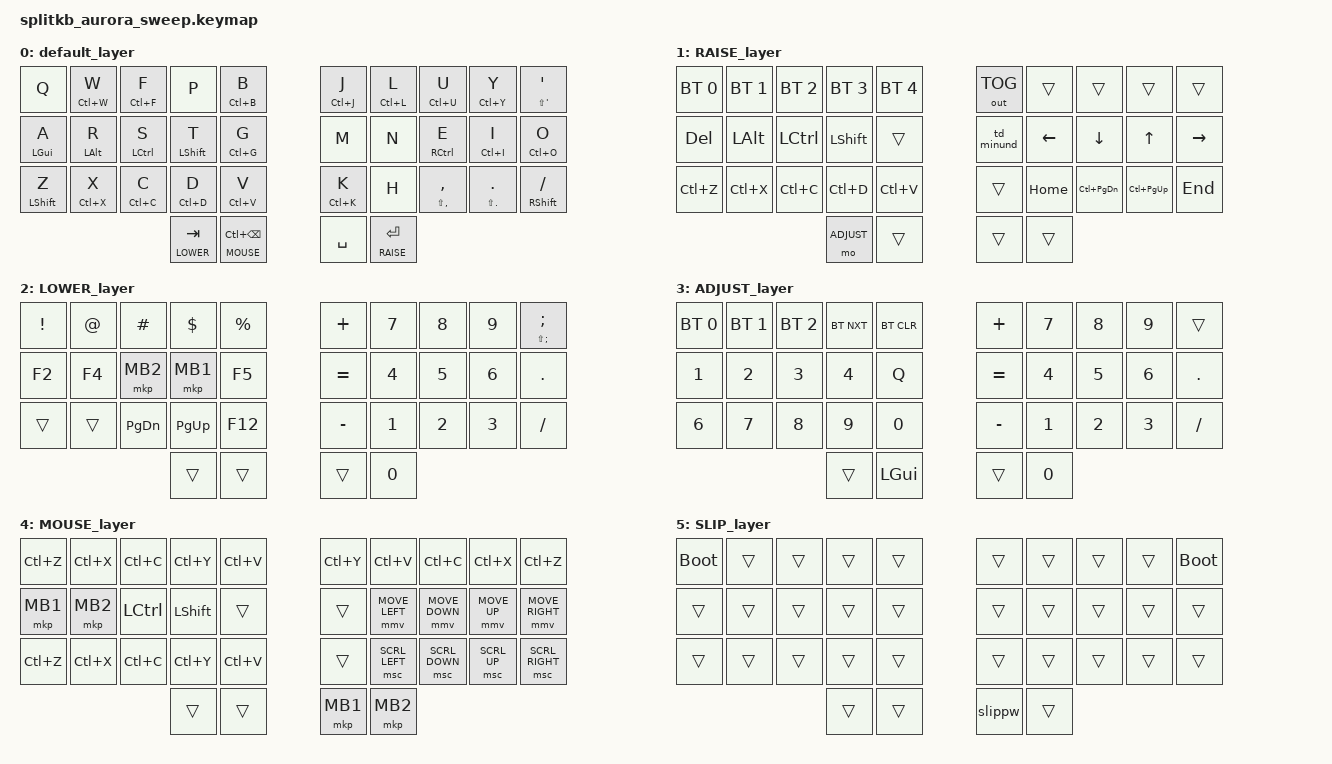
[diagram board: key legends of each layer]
/*Ryan's Dev List
    Common word combos
    Use home row combos for enter, etc.? Will probably end up with false positives
 */

#include <behaviors.dtsi>
#include <dt-bindings/zmk/keys.h>
#include <dt-bindings/zmk/bt.h>
#include <dt-bindings/zmk/outputs.h>
#include <dt-bindings/zmk/pointing.h>
#include <dt-bindings/zmk/ext_power.h>

#define BASE 0
#define RAISE 1
#define LOWER 2
#define ADJUST 3
#define MOUSE 4
#define SLIP 5
#define ALL_LAYERS <0 1 2 3 4 5>

/ {
    behaviors {
        td_mtls: tap_dance_triple_brackets_left {
            compatible = "zmk,behavior-tap-dance";
            label = "tap_dance_triple_brackets_left";
            #binding-cells = <0>;
            tapping-term-ms = <500>;
            bindings = <&kp LPAR>, <&kp LBKT>, <&kp LBRC>;
        };
        
        td_mtrs: tap_dance_triple_brackets_right {
            compatible = "zmk,behavior-tap-dance";
            label = "tap_dance_triple_brackets_right";
            #binding-cells = <0>;
            tapping-term-ms = <500>;
            bindings = <&kp RPAR>, <&kp RBKT>, <&kp RBRC>;
        };
        
        td_minund: tap_dance_minus_underscore {
            compatible = "zmk,behavior-tap-dance";
            label = "tap_dance_minus_underscore";
            #binding-cells = <0>;
            tapping-term-ms = <200>;
            bindings = <&kp MINUS>, <&kp UNDER>;
        };

        pht: positional_hold_tap {
            compatible = "zmk,behavior-hold-tap";
            #binding-cells = <2>;
            flavor = "tap-preferred";
            tapping-term-ms = <200>;
            bindings = <&kp>, <&kp>;
        };

        lh_hrms: left_positional_hold_tap_strong {
            compatible = "zmk,behavior-hold-tap";
            #binding-cells = <2>;
            flavor = "tap-preferred";
            tapping-term-ms = <400>;
            bindings = <&kp>, <&kp>;
            hold-trigger-key-positions = <5 6 7 8 9 15 16 17 18 19 25 26 27 28 29 32 33>;
            hold-trigger-on-release;
        };

        lh_hrmm: left_positional_hold_tap_middle {
            compatible = "zmk,behavior-hold-tap";
            #binding-cells = <2>;
            flavor = "balanced";
            tapping-term-ms = <200>;
            bindings = <&kp>, <&kp>;
            hold-trigger-key-positions = <5 6 7 8 9 15 16 17 18 19 25 26 27 28 29 32 33>;
            hold-trigger-on-release;
        };

        lh_hrmr: left_positional_hold_tap_ring {
            compatible = "zmk,behavior-hold-tap";
            #binding-cells = <2>;
            flavor = "balanced";
            tapping-term-ms = <200>;
            bindings = <&kp>, <&kp>;
            hold-trigger-key-positions = <5 6 7 8 9 15 16 17 18 19 25 26 27 28 29 30 32 33>;
            hold-trigger-on-release;
        };

        lh_hrmp: left_positional_hold_tap_pinky {
            compatible = "zmk,behavior-hold-tap";
            #binding-cells = <2>;
            flavor = "tap-preferred";
            tapping-term-ms = <450>;
            bindings = <&kp>, <&kp>;
            hold-trigger-key-positions = <5 6 7 8 9 15 16 17 18 19 25 26 27 28 29 32 33>;
            hold-trigger-on-release;
        };

        lh_hrmz: left_positional_hold_tap_zkey {
            compatible = "zmk,behavior-hold-tap";
            #binding-cells = <2>;
            flavor = "hold-preferred";
            tapping-term-ms = <200>;
            bindings = <&kp>, <&kp>;
            hold-trigger-key-positions = <5 6 7 8 9 15 16 17 18 19 25 26 27 28 29 32 33>;
            hold-trigger-on-release;
        };

        rh_hrms: right_positional_hold_tap_strong {
            compatible = "zmk,behavior-hold-tap";
            #binding-cells = <2>;
            flavor = "balanced";
            tapping-term-ms = <105>;
            bindings = <&kp>, <&kp>;
            hold-trigger-key-positions = <0 1 2 3 4 10 11 12 13 14 20 21 22 23 24 30 31>;
            hold-trigger-on-release;
        };

        rh_hrmm: right_positional_hold_tap_middle {
            compatible = "zmk,behavior-hold-tap";
            #binding-cells = <2>;
            flavor = "balanced";
            tapping-term-ms = <200>;
            bindings = <&kp>, <&kp>;
            hold-trigger-key-positions = <0 1 2 3 4 10 11 12 13 14 20 21 22 23 24 30 31>;
            hold-trigger-on-release;
        };

        rh_hrmqm: right_positional_hold_tap_questionmark {
            compatible = "zmk,behavior-hold-tap";
            #binding-cells = <2>;
            flavor = "hold-preferred";
            tapping-term-ms = <200>;
            bindings = <&kp>, <&kp>;
            hold-trigger-key-positions = <0 1 2 3 4 10 11 12 13 14 20 21 22 23 24 30 31>;
            hold-trigger-on-release;
        };

        thb_lr: thumb_layer_positional_hold_tap {
            compatible = "zmk,behavior-hold-tap";
            #binding-cells = <2>;
            flavor = "balanced";
            tapping-term-ms = <125>;
            bindings = <&mo>, <&kp>;
        };
    };

    macros {
        slippw: slippw {
            label = "SLIPPW";
            compatible = "zmk,behavior-macro";
            #binding-cells = <0>;
            wait-ms = <5>;
            tap-ms = <5>;
            bindings
                = <&macro_tap &kp D &kp Y &kp W &kp LS(T) &kp M &kp L &kp M &kp LS(F)>
                ; 
        };

        lmkem: lmkem {
            label = "LMKEMAIL";
            compatible = "zmk,behavior-macro";
            #binding-cells = <0>;
            wait-ms = <5>;
            tap-ms = <5>;
            bindings
                = <&macro_tap &kp COMMA &kp SPACE &kp L &kp E &kp T &kp SPACE &kp M &kp E &kp SPACE &kp K &kp N &kp O &kp W &kp SPACE &kp I &kp F &kp SPACE &kp Y &kp O &kp U &kp SPACE &kp H &kp A &kp V &kp E &kp SPACE &kp A &kp N &kp Y &kp SPACE &kp Q &kp U &kp E &kp S &kp T &kp I &kp O &kp N &kp S &kp DOT>
                ; 
        };

        bcomthe: bcomthe {
            label = "BComThe";
            compatible = "zmk,behavior-macro";
            #binding-cells = <0>;
            wait-ms = <5>;
            tap-ms = <5>;
            bindings
                = <&macro_tap &kp T &kp H &kp E>
                ; 
        };

        bcomand: bcomand {
            label = "BComAnd";
            compatible = "zmk,behavior-macro";
            #binding-cells = <0>;
            wait-ms = <5>;
            tap-ms = <5>;
            bindings
                = <&macro_tap &kp A &kp N &kp D>
                ; 
        };

        bcomyou: bcomyou {
            label = "BComYou";
            compatible = "zmk,behavior-macro";
            #binding-cells = <0>;
            wait-ms = <5>;
            tap-ms = <5>;
            bindings
                = <&macro_tap &kp Y &kp O &kp U>
                ; 
        };

        bcomthecap: bcomthecap {
            label = "BComTheCap";
            compatible = "zmk,behavior-macro";
            #binding-cells = <0>;
            wait-ms = <5>;
            tap-ms = <5>;
            bindings
                = <&macro_tap &kp LS(T) &kp H &kp E>
                ; 
        };

        bcomandcap: bcomandcap {
            label = "BComAndCap";
            compatible = "zmk,behavior-macro";
            #binding-cells = <0>;
            wait-ms = <5>;
            tap-ms = <5>;
            bindings
                = <&macro_tap &kp LS(A) &kp N &kp D>
                ; 
        };

        bcomyoucap: bcomyoucap {
            label = "BComYouCap";
            compatible = "zmk,behavior-macro";
            #binding-cells = <0>;
            wait-ms = <5>;
            tap-ms = <5>;
            bindings
                = <&macro_tap &kp LS(Y) &kp O &kp U>
                ; 
        };
    };

    combos {            
        compatible = "zmk,combos";
            combo_sliplayer {
            timeout-ms = <20>;
            key-positions = <16 18>;
            layers = ALL_LAYERS; 
            bindings = <&mo SLIP>;
        };  
        
            combo_LMKemail {
            timeout-ms = <500>;
            key-positions = <0 6 32>;
            layers = ALL_LAYERS; 
            bindings = <&lmkem>;
        };  

            combo_BComThe {
            timeout-ms = <200>;
            key-positions = <13 31>;
            layers = ALL_LAYERS; 
            bindings = <&bcomthe>;
        };  

            combo_BComAnd {
            timeout-ms = <200>;
            key-positions = <10 31>;
            layers = ALL_LAYERS; 
            bindings = <&bcomand>;
        };  

            combo_BComYou {
            timeout-ms = <200>;
            key-positions = <8 31>;
            layers = ALL_LAYERS; 
            bindings = <&bcomyou>;
        };  

            combo_BComTheCap {
            timeout-ms = <200>;
            key-positions = <13 16 31>;
            layers = ALL_LAYERS; 
            bindings = <&bcomthecap>;
        };  

            combo_BComAndCap {
            timeout-ms = <200>;
            key-positions = <10 16 31>;
            layers = ALL_LAYERS; 
            bindings = <&bcomandcap>;
        };  

            combo_BComYouCap {
            timeout-ms = <200>;
            key-positions = <8 13 31>;
            layers = ALL_LAYERS; 
            bindings = <&bcomyoucap>;
        };  

            combo_BSPC {
            timeout-ms = <200>;
            key-positions = <12 31>;
            layers = ALL_LAYERS;
            bindings = <&kp BSPC>;
        };  

            combo_excl {
            timeout-ms = <200>;
            key-positions = <0 10>;
            layers = ALL_LAYERS;
            bindings = <&kp EXCL>;
        };  

            combo_atsym {
            timeout-ms = <200>;
            key-positions = <1 11>;
            layers = ALL_LAYERS;
            bindings = <&kp AT>;
        };  

            combo_hash {
            timeout-ms = <200>;
            key-positions = <2 12>;
            layers = ALL_LAYERS;
            bindings = <&kp HASH>;
        };  

            combo_dollar {
            timeout-ms = <200>;
            key-positions = <3 13>;
            layers = ALL_LAYERS;
            bindings = <&kp DLLR>;
        };  

            combo_prcnt {
            timeout-ms = <200>;
            key-positions = <4 14>;
            layers = ALL_LAYERS;
            bindings = <&kp PRCNT>;
        };  

            combo_raise {
            timeout-ms = <200>;
            key-positions = <5 15>;
            layers = ALL_LAYERS;
            bindings = <&kp CARET>;
        };  

            combo_ampsd {
            timeout-ms = <200>;
            key-positions = <6 16>;
            layers = ALL_LAYERS;
            bindings = <&kp AMPS>;
        };  

            combo_astx {
            timeout-ms = <200>;
            key-positions = <7 17>;
            layers = ALL_LAYERS;
            bindings = <&kp ASTRK>;
        };  

            combo_lbrc {
            timeout-ms = <200>;
            key-positions = <8 18>;
            layers = ALL_LAYERS;
            bindings = <&td_mtls>;
        };  

            combo_rbrc {
            timeout-ms = <200>;
            key-positions = <9 19>;
            layers = ALL_LAYERS;
            bindings = <&td_mtrs>;
        };  

            combo_esc {
            timeout-ms = <200>;
            key-positions = <8 9>;
            layers = ALL_LAYERS;
            bindings = <&kp ESC>;
        };  

            combo_capsword {
            timeout-ms = <200>;
            key-positions = <31 32>;
            layers = ALL_LAYERS;
            bindings = <&caps_word>;
        };

            combo_lockcad {
            timeout-ms = <200>;
            key-positions = <0 1>;
            layers = <0>;
            bindings = <&pht LC(LA(DEL)) LG(L)>;
        };

            combo_btclear {
            timeout-ms = <200>;
            key-positions = <0 1 2 3>;
            layers = <1>;
            bindings = <&bt BT_CLR>;
        };
          
            combo_extpowertoggle {
            timeout-ms = <200>;
            key-positions = <10 11 12 13>;
            layers = <0>;
            bindings = <&ext_power EP_TOG>;
        };          

            combo_outputtoggle {
            timeout-ms = <200>;
            key-positions = <0 1>;
            layers = <1>;
            bindings = <&out OUT_TOG>;
        };
    };

    keymap {
        compatible = "zmk,keymap";

        default_layer {
            bindings = <
                &kp Q               &pht LC(W) W        &pht LC(F) F        &kp P               &pht LC(B) B                                               &pht LC(J) J        &pht LC(L) L     &pht LC(U) U           &pht LC(Y) Y        &pht LS(SQT) SQT
                &lh_hrmp LGUI A     &lh_hrmr LALT R     &lh_hrmm LCTRL S    &lh_hrms LSHFT T    &pht LC(G) G                                               &kp M               &kp N            &rh_hrmm RCTRL E       &pht LC(I) I        &pht LC(O) O
                &lh_hrmz LSHFT Z    &pht LC(X) X        &pht LC(C) C        &pht LC(D) D        &pht LC(V) V                                               &pht LC(K) K        &kp H            &pht LS(COMMA) COMMA   &pht LS(DOT) DOT    &rh_hrmqm RSHFT FSLH
                                                                                                &thb_lr LOWER TAB   &thb_lr MOUSE LC(BSPC)     &kp SPACE   &thb_lr RAISE ENTER 
            >;
        };
        
        RAISE_layer {
            bindings = <
                &bt BT_SEL 0    &bt BT_SEL 1       &bt BT_SEL 2    &bt BT_SEL 3    &bt BT_SEL 4                                 &out OUT_TOG    &trans          &trans                  &trans              &trans
                &kp DEL         &kp LALT           &kp LCTRL       &kp LSHFT       &trans                                       &td_minund      &kp LEFT        &kp DOWN                &kp UP              &kp RIGHT
                &kp LC(Z)       &kp LC(X)          &kp LC(C)       &kp LC(D)       &kp LC(V)                                    &trans          &kp HOME        &kp LC(PG_DN)           &kp LC(PG_UP)       &kp END
                                                                                   &mo ADJUST      &trans           &trans      &trans
            >;
        };

        LOWER_layer {
            bindings = <
                &kp EXCL        &kp AT          &kp HASH        &kp DLLR        &kp PRCNT                                       &kp PLUS        &kp N7          &kp N8                  &kp N9              &pht LS(SEMI) SEMI
                &kp F2          &kp F4          &mkp MB2        &mkp MB1        &kp F5                                          &kp EQUAL       &kp N4          &kp N5                  &kp N6              &kp DOT
                &trans          &trans          &kp PG_DN       &kp PG_UP       &kp F12                                         &kp MINUS       &kp N1          &kp N2                  &kp N3              &kp FSLH
                                                                                &trans          &trans              &trans      &kp N0
            >;
        };

        ADJUST_layer {
            bindings = <
                &bt BT_SEL 0    &bt BT_SEL 1    &bt BT_SEL 2    &bt BT_NXT      &bt BT_CLR                                      &kp PLUS        &kp N7          &kp N8                  &kp N9              &trans
                &kp N1          &kp N2          &kp N3          &kp N4          &kp Q                                           &kp EQUAL       &kp N4          &kp N5                  &kp N6              &kp DOT
                &kp N6          &kp N7          &kp N8          &kp N9          &kp N0                                          &kp MINUS       &kp N1          &kp N2                  &kp N3              &kp FSLH
                                                                                &trans          &kp LGUI            &trans      &kp N0
            >;
        };

        MOUSE_layer {
            bindings = <
                &kp LC(Z)       &kp LC(X)       &kp LC(C)       &kp LC(Y)       &kp LC(V)                                       &kp LC(Y)       &kp LC(V)       &kp LC(C)               &kp LC(X)           &kp LC(Z)
                &mkp MB1        &mkp MB2        &kp LCTRL       &kp LSHFT       &trans                                          &trans          &mmv MOVE_LEFT  &mmv MOVE_DOWN          &mmv MOVE_UP        &mmv MOVE_RIGHT
                &kp LC(Z)       &kp LC(X)       &kp LC(C)       &kp LC(Y)       &kp LC(V)                                       &trans          &msc SCRL_LEFT  &msc SCRL_DOWN          &msc SCRL_UP        &msc SCRL_RIGHT
                                                                                &trans          &trans              &mkp MB1    &mkp MB2
            >;
        };

        SLIP_layer {
            bindings = <
                &bootloader     &trans          &trans          &trans          &trans                                          &trans          &trans          &trans                  &trans              &bootloader
                &trans          &trans          &trans          &trans          &trans                                          &trans          &trans          &trans                  &trans              &trans
                &trans          &trans          &trans          &trans          &trans                                          &trans          &trans          &trans                  &trans              &trans
                                                                                &trans          &trans              &slippw     &trans
            >;
        };
    };
};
